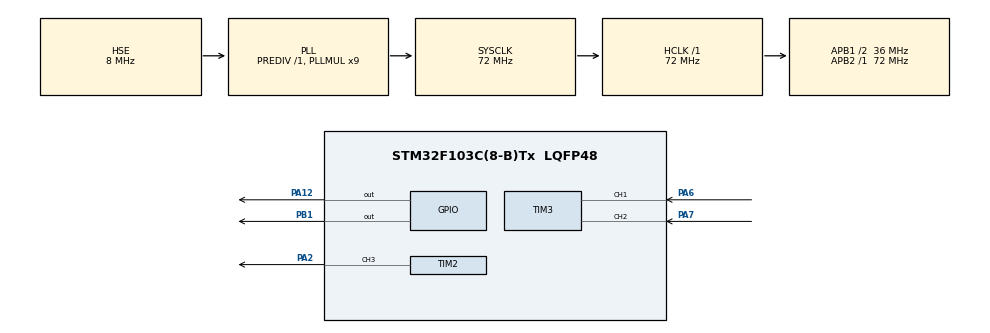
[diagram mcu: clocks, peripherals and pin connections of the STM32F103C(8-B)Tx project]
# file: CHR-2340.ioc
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Mcu.Family=STM32F1
Mcu.Name=STM32F103C(8-B)Tx
Mcu.Package=LQFP48
NVIC.PriorityGroup=NVIC_PRIORITYGROUP_4
PA12.Signal=GPIO_Output
PA13.Mode=Serial_Wire
PA13.Signal=SYS_JTMS-SWDIO
PA14.Mode=Serial_Wire
PA14.Signal=SYS_JTCK-SWCLK
PA2.Signal=S_TIM2_CH3
PA6.Signal=S_TIM3_CH1
PA7.Signal=S_TIM3_CH2
PB1.Signal=GPIO_Output
PD0-OSC_IN.Mode=HSE-External-Oscillator
PD0-OSC_IN.Signal=RCC_OSC_IN
PD1-OSC_OUT.Mode=HSE-External-Oscillator
PD1-OSC_OUT.Signal=RCC_OSC_OUT
ProjectManager.HeapSize=0x200
ProjectManager.StackSize=0x400
ProjectManager.TargetToolchain=MDK-ARM V5.32
RCC.AHBFreq_Value=72000000
RCC.APB1CLKDivider=RCC_HCLK_DIV2
RCC.APB1Freq_Value=36000000
RCC.APB1TimFreq_Value=72000000
RCC.APB2Freq_Value=72000000
RCC.APB2TimFreq_Value=72000000
RCC.HCLKFreq_Value=72000000
RCC.PLLMUL=RCC_PLL_MUL9
RCC.PLLSourceVirtual=RCC_PLLSOURCE_HSE
RCC.SYSCLKFreq_VALUE=72000000
RCC.SYSCLKSource=RCC_SYSCLKSOURCE_PLLCLK
RCC.USBFreq_Value=72000000
SH.S_TIM2_CH3.0=TIM2_CH3,PWM Generation3 CH3
SH.S_TIM3_CH1.0=TIM3_CH1,Encoder_Interface
SH.S_TIM3_CH2.0=TIM3_CH2,Encoder_Interface
TIM2.Channel-PWM\ Generation3\ CH3=TIM_CHANNEL_3
TIM2.Period=999
TIM2.Prescaler=71
TIM3.EncoderMode=TIM_ENCODERMODE_TI12
VP_TIM1_VS_ClockSourceINT.Mode=Internal
board=custom

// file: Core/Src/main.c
/* USER CODE BEGIN Header */
/**
  ******************************************************************************
  * @file           : main.c
  * @brief          : Main program body
  ******************************************************************************
  * @attention
  *
  * Copyright (c) 2026 STMicroelectronics.
  * All rights reserved.
  *
  * This software is licensed under terms that can be found in the LICENSE file
  * in the root directory of this software component.
  * If no LICENSE file comes with this software, it is provided AS-IS.
  ******************************************************************************
  */
/* USER CODE END Header */
#include "main.h"

/* USER CODE BEGIN Includes */
#include <stdio.h>
/* USER CODE END Includes */

TIM_HandleTypeDef htim1;
TIM_HandleTypeDef htim2;
TIM_HandleTypeDef htim3;

void SystemClock_Config(void);
static void MX_GPIO_Init(void);
static void MX_TIM1_Init(void);
static void MX_TIM2_Init(void);
static void MX_TIM3_Init(void);

/* USER CODE BEGIN PFP */
void Motor_Forward(uint16_t pwm);
void Motor_Backward(uint16_t pwm);
void Motor_Stop(void);
int16_t Encoder_Get(void);
void Encoder_Clear(void);
/* USER CODE END PFP */

/* USER CODE BEGIN 0 */

// ==================== 引脚定义 ====================
#define AIN1_GPIO       GPIOB
#define AIN1_PIN        GPIO_PIN_1

#define AIN2_GPIO       GPIOA
#define AIN2_PIN        GPIO_PIN_12

// ==================== 电机正转 ====================
void Motor_Forward(uint16_t pwm)
{
    HAL_GPIO_WritePin(AIN1_GPIO, AIN1_PIN, GPIO_PIN_SET);
    HAL_GPIO_WritePin(AIN2_GPIO, AIN2_PIN, GPIO_PIN_RESET);
    __HAL_TIM_SET_COMPARE(&htim2, TIM_CHANNEL_3, pwm);
}

// ==================== 电机反转 ====================
void Motor_Backward(uint16_t pwm)
{
    HAL_GPIO_WritePin(AIN1_GPIO, AIN1_PIN, GPIO_PIN_RESET);
    HAL_GPIO_WritePin(AIN2_GPIO, AIN2_PIN, GPIO_PIN_SET);
    __HAL_TIM_SET_COMPARE(&htim2, TIM_CHANNEL_3, pwm);
}

// ==================== 电机停止 ====================
void Motor_Stop(void)
{
    HAL_GPIO_WritePin(AIN1_GPIO, AIN1_PIN, GPIO_PIN_RESET);
    HAL_GPIO_WritePin(AIN2_GPIO, AIN2_PIN, GPIO_PIN_RESET);
    __HAL_TIM_SET_COMPARE(&htim2, TIM_CHANNEL_3, 0);
}

// ==================== 读取编码器 ====================
int16_t Encoder_Get(void)
{
    return (int16_t)__HAL_TIM_GET_COUNTER(&htim3);
}

void Encoder_Clear(void)
{
    __HAL_TIM_SET_COUNTER(&htim3, 0);
}

/* USER CODE END 0 */

int main(void)
{
  HAL_Init();
  SystemClock_Config();
  MX_GPIO_Init();
  MX_TIM1_Init();
  MX_TIM2_Init();
  MX_TIM3_Init();

  HAL_TIM_PWM_Start(&htim2, TIM_CHANNEL_3);
  HAL_TIM_Encoder_Start(&htim3, TIM_CHANNEL_ALL);
  Encoder_Clear();

  while (1)
{
    // 一直正转
    Motor_Forward(900);
}
}

void SystemClock_Config(void)
{
  RCC_OscInitTypeDef RCC_OscInitStruct = {0};
  RCC_ClkInitTypeDef RCC_ClkInitStruct = {0};

  RCC_OscInitStruct.OscillatorType = RCC_OSCILLATORTYPE_HSE;
  RCC_OscInitStruct.HSEState = RCC_HSE_ON;
  RCC_OscInitStruct.HSEPredivValue = RCC_HSE_PREDIV_DIV1;
  RCC_OscInitStruct.HSIState = RCC_HSI_ON;
  RCC_OscInitStruct.PLL.PLLState = RCC_PLL_ON;
  RCC_OscInitStruct.PLL.PLLSource = RCC_PLLSOURCE_HSE;
  RCC_OscInitStruct.PLL.PLLMUL = RCC_PLL_MUL9;
  if (HAL_RCC_OscConfig(&RCC_OscInitStruct) != HAL_OK)
  {
    Error_Handler();
  }

  RCC_ClkInitStruct.ClockType = RCC_CLOCKTYPE_HCLK|RCC_CLOCKTYPE_SYSCLK
                              |RCC_CLOCKTYPE_PCLK1|RCC_CLOCKTYPE_PCLK2;
  RCC_ClkInitStruct.SYSCLKSource = RCC_SYSCLKSOURCE_PLLCLK;
  RCC_ClkInitStruct.AHBCLKDivider = RCC_SYSCLK_DIV1;
  RCC_ClkInitStruct.APB1CLKDivider = RCC_HCLK_DIV2;
  RCC_ClkInitStruct.APB2CLKDivider = RCC_HCLK_DIV1;

  if (HAL_RCC_ClockConfig(&RCC_ClkInitStruct, FLASH_LATENCY_2) != HAL_OK)
  {
    Error_Handler();
  }
}

static void MX_TIM1_Init(void)
{
  TIM_ClockConfigTypeDef sClockSourceConfig = {0};
  TIM_MasterConfigTypeDef sMasterConfig = {0};

  htim1.Instance = TIM1;
  htim1.Init.Prescaler = 0;
  htim1.Init.CounterMode = TIM_COUNTERMODE_UP;
  htim1.Init.Period = 65535;
  htim1.Init.ClockDivision = TIM_CLOCKDIVISION_DIV1;
  htim1.Init.RepetitionCounter = 0;
  htim1.Init.AutoReloadPreload = TIM_AUTORELOAD_PRELOAD_DISABLE;
  if (HAL_TIM_Base_Init(&htim1) != HAL_OK)
  {
    Error_Handler();
  }
  sClockSourceConfig.ClockSource = TIM_CLOCKSOURCE_INTERNAL;
  if (HAL_TIM_ConfigClockSource(&htim1, &sClockSourceConfig) != HAL_OK)
  {
    Error_Handler();
  }
  sMasterConfig.MasterOutputTrigger = TIM_TRGO_RESET;
  sMasterConfig.MasterSlaveMode = TIM_MASTERSLAVEMODE_DISABLE;
  if (HAL_TIMEx_MasterConfigSynchronization(&htim1, &sMasterConfig) != HAL_OK)
  {
    Error_Handler();
  }
}

static void MX_TIM2_Init(void)
{
  TIM_MasterConfigTypeDef sMasterConfig = {0};
  TIM_OC_InitTypeDef sConfigOC = {0};

  htim2.Instance = TIM2;
  htim2.Init.Prescaler = 71;
  htim2.Init.CounterMode = TIM_COUNTERMODE_UP;
  htim2.Init.Period = 999;
  htim2.Init.ClockDivision = TIM_CLOCKDIVISION_DIV1;
  htim2.Init.AutoReloadPreload = TIM_AUTORELOAD_PRELOAD_DISABLE;
  if (HAL_TIM_PWM_Init(&htim2) != HAL_OK)
  {
    Error_Handler();
  }
  sMasterConfig.MasterOutputTrigger = TIM_TRGO_RESET;
  sMasterConfig.MasterSlaveMode = TIM_MASTERSLAVEMODE_DISABLE;
  if (HAL_TIMEx_MasterConfigSynchronization(&htim2, &sMasterConfig) != HAL_OK)
  {
    Error_Handler();
  }
  sConfigOC.OCMode = TIM_OCMODE_PWM1;
  sConfigOC.Pulse = 0;
  sConfigOC.OCPolarity = TIM_OCPOLARITY_HIGH;
  sConfigOC.OCFastMode = TIM_OCFAST_DISABLE;
  if (HAL_TIM_PWM_ConfigChannel(&htim2, &sConfigOC, TIM_CHANNEL_3) != HAL_OK)
  {
    Error_Handler();
  }
  HAL_TIM_MspPostInit(&htim2);
}

static void MX_TIM3_Init(void)
{
  TIM_Encoder_InitTypeDef sConfig = {0};
  TIM_MasterConfigTypeDef sMasterConfig = {0};

  htim3.Instance = TIM3;
  htim3.Init.Prescaler = 0;
  htim3.Init.CounterMode = TIM_COUNTERMODE_UP;
  htim3.Init.Period = 65535;
  htim3.Init.ClockDivision = TIM_CLOCKDIVISION_DIV1;
  htim3.Init.AutoReloadPreload = TIM_AUTORELOAD_PRELOAD_DISABLE;
  sConfig.EncoderMode = TIM_ENCODERMODE_TI12;
  sConfig.IC1Polarity = TIM_ICPOLARITY_RISING;
  sConfig.IC1Selection = TIM_ICSELECTION_DIRECTTI;
  sConfig.IC1Prescaler = TIM_ICPSC_DIV1;
  sConfig.IC1Filter = 0;
  sConfig.IC2Polarity = TIM_ICPOLARITY_RISING;
  sConfig.IC2Selection = TIM_ICSELECTION_DIRECTTI;
  sConfig.IC2Prescaler = TIM_ICPSC_DIV1;
  sConfig.IC2Filter = 0;
  if (HAL_TIM_Encoder_Init(&htim3, &sConfig) != HAL_OK)
  {
    Error_Handler();
  }
  sMasterConfig.MasterOutputTrigger = TIM_TRGO_RESET;
  sMasterConfig.MasterSlaveMode = TIM_MASTERSLAVEMODE_DISABLE;
  if (HAL_TIMEx_MasterConfigSynchronization(&htim3, &sMasterConfig) != HAL_OK)
  {
    Error_Handler();
  }
}

static void MX_GPIO_Init(void)
{
  GPIO_InitTypeDef GPIO_InitStruct = {0};

  __HAL_RCC_GPIOD_CLK_ENABLE();
  __HAL_RCC_GPIOA_CLK_ENABLE();
  __HAL_RCC_GPIOB_CLK_ENABLE();

  HAL_GPIO_WritePin(GPIOB, GPIO_PIN_1, GPIO_PIN_RESET);
  HAL_GPIO_WritePin(GPIOA, GPIO_PIN_12, GPIO_PIN_RESET);

  GPIO_InitStruct.Pin = GPIO_PIN_1;
  GPIO_InitStruct.Mode = GPIO_MODE_OUTPUT_PP;
  GPIO_InitStruct.Pull = GPIO_NOPULL;
  GPIO_InitStruct.Speed = GPIO_SPEED_FREQ_LOW;
  HAL_GPIO_Init(GPIOB, &GPIO_InitStruct);

  GPIO_InitStruct.Pin = GPIO_PIN_12;
  GPIO_InitStruct.Mode = GPIO_MODE_OUTPUT_PP;
  GPIO_InitStruct.Pull = GPIO_NOPULL;
  GPIO_InitStruct.Speed = GPIO_SPEED_FREQ_LOW;
  HAL_GPIO_Init(GPIOA, &GPIO_InitStruct);
}

void Error_Handler(void)
{
  __disable_irq();
  while (1)
  {
  }
}
